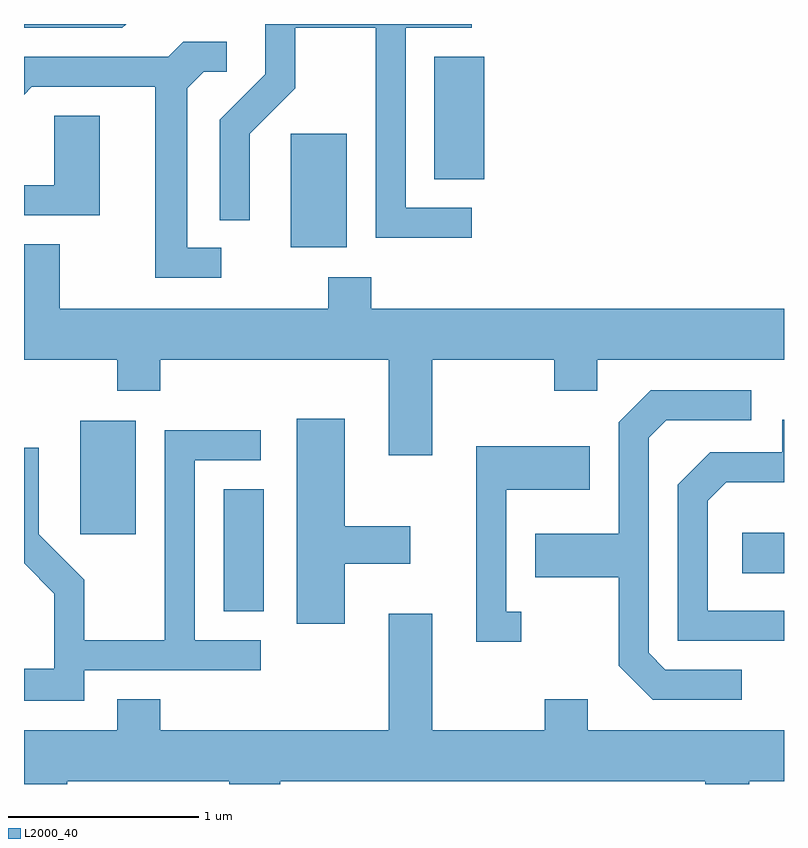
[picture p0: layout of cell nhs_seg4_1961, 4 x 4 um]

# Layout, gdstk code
import gdstk
lib = gdstk.Library(unit=1e-6, precision=1e-09)
def R(c, l, rs):  # rectangles x0, y0, x1, y1
    for r in rs: c.add(gdstk.rectangle(r[:2], r[2:], *l))
def P(c, l, *ps):  # polygons
    for p in ps: c.add(gdstk.Polygon(p, *l))
L2000_40 = (2000, 40)

nhs_seg4_1961 = lib.new_cell('nhs_seg4_1961')
R(nhs_seg4_1961, L2000_40, [(242.661,1368.891,242.874,1369.534), (245.391,1369.091,245.611,1369.304), (241.906,1369.296,242.199,1369.894), (243.016,1370.806,243.309,1371.404), (243.771,1371.166,244.034,1371.809)])
P(nhs_seg4_1961, L2000_40, [(242.148,1371.982),(241.611,1371.982),(241.611,1371.961),(242.127,1371.961)],
  [(243.968,1371.014),(243.619,1371.014),(243.619,1371.961),(243.968,1371.961),(243.968,1371.982),(242.881,1371.982),(242.881,1371.717),(242.641,1371.477),(242.641,1370.948),(242.799,1370.948),(242.799,1371.404),(243.039,1371.644),(243.039,1371.961),(243.461,1371.961),(243.461,1370.856),(243.968,1370.856)],
  [(242.648,1370.804),(242.469,1370.804),(242.469,1371.644),(242.557,1371.731),(242.678,1371.731),(242.678,1371.889),(242.449,1371.889),(242.369,1371.809),(241.611,1371.809),(241.611,1371.61),(241.652,1371.651),(242.301,1371.651),(242.301,1370.646),(242.648,1370.646)],
  [(242.009,1371.499),(241.771,1371.499),(241.771,1371.134),(241.611,1371.134),(241.611,1370.976),(242.009,1370.976)],
  [(243.759,1370.216),(244.401,1370.216),(244.401,1370.051),(244.629,1370.051),(244.629,1370.216),(245.611,1370.216),(245.611,1370.484),(243.439,1370.484),(243.439,1370.649),(243.211,1370.649),(243.211,1370.484),(241.799,1370.484),(241.799,1370.824),(241.611,1370.824),(241.611,1370.216),(242.101,1370.216),(242.101,1370.051),(242.329,1370.051),(242.329,1370.216),(243.531,1370.216),(243.531,1369.711),(243.759,1369.711)],
  [(245.388,1368.584),(244.987,1368.584),(244.899,1368.672),(244.899,1369.804),(244.992,1369.896),(245.438,1369.896),(245.438,1370.054),(244.909,1370.054),(244.741,1369.887),(244.741,1369.299),(244.301,1369.299),(244.301,1369.071),(244.741,1369.071),(244.741,1368.604),(244.919,1368.426),(245.388,1368.426)],
  [(243.299,1369.141),(243.644,1369.141),(243.644,1369.339),(243.299,1369.339),(243.299,1369.904),(243.046,1369.904),(243.046,1368.826),(243.299,1368.826)],
  [(245.611,1368.894),(245.209,1368.894),(245.209,1369.474),(245.307,1369.571),(245.611,1369.571),(245.611,1369.899),(245.601,1369.899),(245.601,1369.729),(245.224,1369.729),(245.051,1369.557),(245.051,1368.736),(245.611,1368.736)],
  [(241.929,1368.581),(242.858,1368.581),(242.858,1368.739),(242.509,1368.739),(242.509,1369.686),(242.858,1369.686),(242.858,1369.844),(242.351,1369.844),(242.351,1368.739),(241.929,1368.739),(241.929,1369.057),(241.689,1369.297),(241.689,1369.753),(241.611,1369.753),(241.611,1369.144),(241.771,1368.984),(241.771,1368.589),(241.611,1368.589),(241.611,1368.421),(241.929,1368.421)],
  [(244.228,1368.889),(244.149,1368.889),(244.149,1369.531),(244.589,1369.531),(244.589,1369.759),(243.991,1369.759),(243.991,1368.731),(244.228,1368.731)],
  [(245.196,1367.982),(245.429,1367.982),(245.429,1367.996),(245.611,1367.996),(245.611,1368.264),(244.579,1368.264),(244.579,1368.429),(244.351,1368.429),(244.351,1368.264),(243.759,1368.264),(243.759,1368.879),(243.531,1368.879),(243.531,1368.264),(242.329,1368.264),(242.329,1368.429),(242.101,1368.429),(242.101,1368.264),(241.611,1368.264),(241.611,1367.982),(241.839,1367.982),(241.839,1367.996),(242.691,1367.996),(242.691,1367.982),(242.959,1367.982),(242.959,1367.996),(245.196,1367.996)])

lib.write_gds('nhs_seg4_1961.gds')
